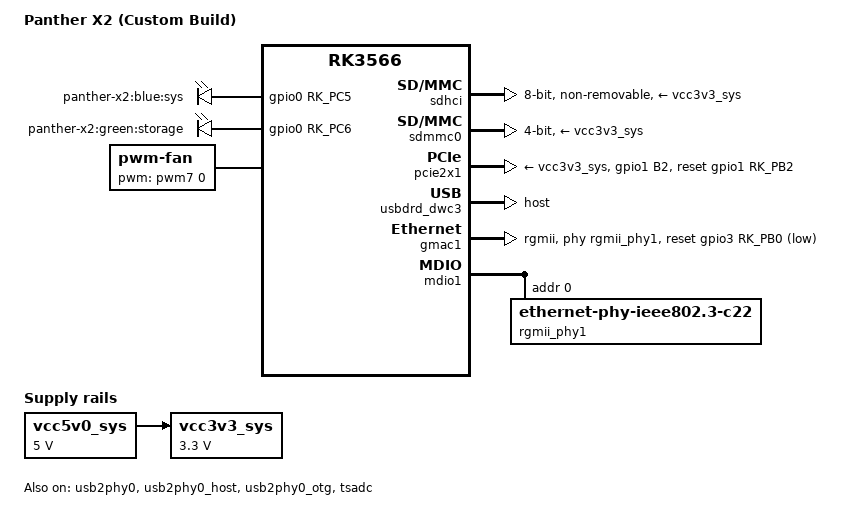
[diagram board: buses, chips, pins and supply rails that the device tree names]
// SPDX-License-Identifier: (GPL-2.0+ OR MIT)
/*
 * Panther-X2 自定义设备树
 * SoC: Rockchip RK3566
 *
 * 基于上游 rk3566-panther-x2.dts 修改
 * 主要定制：
 *   - eMMC 调频参数
 *   - USB3.0 OTG 模式
 *   - 风扇 PWM 控制
 *   - GPIO LED 支持
 *   - PCIe/NVMe 配置
 */

/dts-v1/;
#include "rk3566.dtsi"
// 如果上游已有官方 dts，使用 #include 叠加：
// #include "rk3566-panther-x2.dts"

/ {
	model = "Panther X2 (Custom Build)";
	compatible = "panther,x2-custom", "panther,x2", "rockchip,rk3566";

	/* ── 自定义内核版本描述（可选）── */
	chosen {
		bootargs = "earlycon=uart8250,mmio32,0xfe660000 console=ttyS2,1500000n8 rw";
	};

	/* ── GPIO LED ── */
	leds {
		compatible = "gpio-leds";
		pinctrl-names = "default";
		pinctrl-0 = <&led_pins>;

		/* 系统状态 LED（蓝色） */
		led_sys: led-sys {
			label = "panther-x2:blue:sys";
			gpios = <&gpio0 RK_PC5 GPIO_ACTIVE_HIGH>;
			linux,default-trigger = "heartbeat";
			default-state = "on";
		};

		/* 存储活动 LED（绿色） */
		led_storage: led-storage {
			label = "panther-x2:green:storage";
			gpios = <&gpio0 RK_PC6 GPIO_ACTIVE_HIGH>;
			linux,default-trigger = "mmc0";
			default-state = "off";
		};
	};

	/* ── 风扇 PWM 控制 ── */
	fan: pwm-fan {
		compatible = "pwm-fan";
		pwms = <&pwm7 0 50000 0>;    /* 20kHz PWM */
		cooling-levels = <0 64 128 192 255>;
		#cooling-cells = <2>;
	};

	/* ── 电源配置 ── */
	vcc5v0_sys: vcc5v0-sys {
		compatible = "regulator-fixed";
		regulator-name = "vcc5v0_sys";
		regulator-always-on;
		regulator-boot-on;
		regulator-min-microvolt = <5000000>;
		regulator-max-microvolt = <5000000>;
	};

	vcc3v3_sys: vcc3v3-sys {
		compatible = "regulator-fixed";
		regulator-name = "vcc3v3_sys";
		regulator-always-on;
		regulator-boot-on;
		regulator-min-microvolt = <3300000>;
		regulator-max-microvolt = <3300000>;
		vin-supply = <&vcc5v0_sys>;
	};
};

/* ── eMMC 调优 ── */
&sdhci {
	status = "okay";
	bus-width = <8>;
	cap-mmc-highspeed;
	mmc-hs200-1_8v;
	mmc-hs400-1_8v;
	mmc-hs400-enhanced-strobe;
	/* 提升最大频率至 200MHz（HS400） */
	max-frequency = <200000000>;
	non-removable;
	no-sd;
	no-sdio;
	vmmc-supply = <&vcc3v3_sys>;
	vqmmc-supply = <&vcc_1v8>;
};

/* ── SD 卡 ── */
&sdmmc0 {
	status = "okay";
	bus-width = <4>;
	cap-sd-highspeed;
	cap-mmc-highspeed;
	sd-uhs-sdr12;
	sd-uhs-sdr25;
	sd-uhs-sdr50;
	sd-uhs-sdr104;
	vmmc-supply = <&vcc3v3_sys>;
	vqmmc-supply = <&vccio_sd>;
	pinctrl-names = "default";
	pinctrl-0 = <&sdmmc0_bus4 &sdmmc0_clk &sdmmc0_cmd &sdmmc0_det>;
};

/* ── PCIe / NVMe（M.2 插槽）── */
&pcie2x1 {
	status = "okay";
	reset-gpios = <&gpio1 RK_PB2 GPIO_ACTIVE_HIGH>;
	vpcie3v3-supply = <&vcc3v3_sys>;
	pinctrl-names = "default";
	pinctrl-0 = <&pcie20_pins>;
};

/* ── USB 3.0 OTG（主控模式）── */
&usb2phy0 {
	status = "okay";
};

&usb2phy0_host {
	status = "okay";
	phy-supply = <&vcc5v0_sys>;
};

&usb2phy0_otg {
	status = "okay";
	/* 强制 HOST 模式，如需 OTG 改为 "otg" */
	dr_mode = "host";
};

&usbdrd_dwc3 {
	status = "okay";
	dr_mode = "host";
	extcon = <&usb2phy0>;
};

/* ── 千兆以太网 ── */
&gmac1 {
	status = "okay";
	phy-mode = "rgmii";
	clock_in_out = "output";
	snps,reset-gpio = <&gpio3 RK_PB0 GPIO_ACTIVE_LOW>;
	snps,reset-active-low;
	snps,reset-delays-us = <0 20000 100000>;
	assigned-clocks = <&cru SCLK_GMAC1_RX_TX>,
	                  <&cru SCLK_GMAC1>;
	assigned-clock-parents = <&cru SCLK_GMAC1_RGMII_SPEED>;
	assigned-clock-rates = <0>, <125000000>;
	pinctrl-names = "default";
	pinctrl-0 = <&gmac1m0_miim
	             &gmac1m0_tx_bus2
	             &gmac1m0_rx_bus2
	             &gmac1m0_rgmii_clk
	             &gmac1m0_rgmii_bus>;
	tx_delay = <0x4f>;
	rx_delay = <0x26>;
	phy-handle = <&rgmii_phy1>;
};

&mdio1 {
	rgmii_phy1: ethernet-phy@0 {
		compatible = "ethernet-phy-ieee802.3-c22";
		reg = <0x0>;
		/* 开启绿色以太网（EEE）节能 */
		eee-broken-100tx;
	};
};

/* ── 热管理 / CPU 温控 ── */
&tsadc {
	status = "okay";
	rockchip,hw-tshut-mode = <1>;   /* CRU 模式 */
	rockchip,hw-tshut-polarity = <0>;
};

thermal-zones {
	cpu_thermal: cpu-thermal {
		polling-delay-passive = <200>;
		polling-delay = <1000>;

		trips {
			cpu_warm: cpu-warm {
				temperature = <60000>;   /* 60°C 启动风扇 */
				hysteresis = <5000>;
				type = "active";
			};
			cpu_hot: cpu-hot {
				temperature = <75000>;   /* 75°C 加速风扇 */
				hysteresis = <5000>;
				type = "active";
			};
			cpu_crit: cpu-crit {
				temperature = <95000>;   /* 95°C 紧急关机 */
				hysteresis = <5000>;
				type = "critical";
			};
		};

		cooling-maps {
			map0 {
				trip = <&cpu_warm>;
				cooling-device = <&fan THERMAL_NO_LIMIT 2>;
			};
			map1 {
				trip = <&cpu_hot>;
				cooling-device = <&fan 3 THERMAL_NO_LIMIT>;
			};
		};
	};
};

/* ── pinctrl ── */
&pinctrl {
	leds {
		led_pins: led-pins {
			rockchip,pins =
				<0 RK_PC5 RK_FUNC_GPIO &pcfg_pull_none>,
				<0 RK_PC6 RK_FUNC_GPIO &pcfg_pull_none>;
		};
	};

	pcie {
		pcie20_pins: pcie20-pins {
			rockchip,pins =
				<1 RK_PB2 RK_FUNC_GPIO &pcfg_pull_none>;
		};
	};
};
